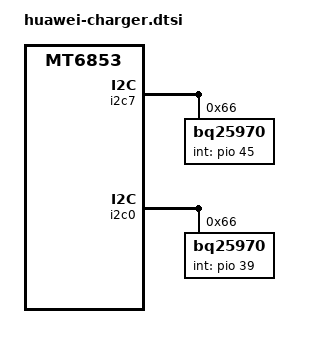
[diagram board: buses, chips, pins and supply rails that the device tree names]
#include "../huawei_charger/mt6853_ang_huawei_charger.dtsi"

&i2c7 {
	bq25970@65 {
		status = "disabled";
	};
	bq25970@66 {
		compatible = "bq25970";
		pinctrl-names = "default";
		pinctrl-0 = <&bq25970_main_irq_pins_default>;
		gpio_int = <&pio 45 0x0>;
		switching_frequency = <675>;
		sense_r_config = <20>;
		sense_r_actual = <10>;
		reg = <0x66>;
		i2c_recovery = <1>;
		i2c_recovery_addr = <0x65>;
		status = "ok";
	};
};

&i2c0 {
	bq25970@65 {
		status = "disabled";
	};
	bq25970@66 {
		compatible = "bq25970";
		pinctrl-names = "default";
		pinctrl-0 = <&bq25970_aux_irq_pins_default>;
		gpio_int = <&pio 39 0x0>;
		ic_role = <1>;
		switching_frequency = <675>;
		sense_r_config = <20>;
		sense_r_actual = <10>;
		reg = <0x66>;
		i2c_recovery = <1>;
		i2c_recovery_addr = <0x65>;
		status = "ok";
	};
};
